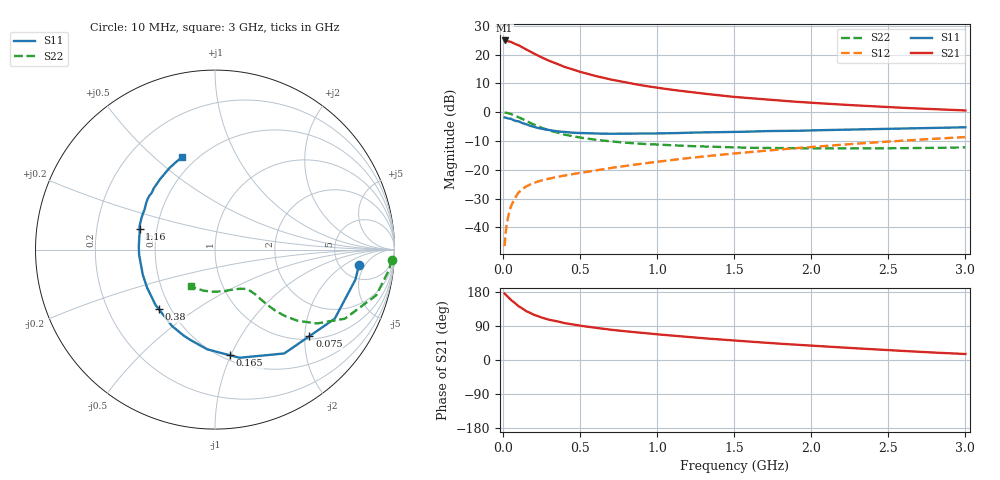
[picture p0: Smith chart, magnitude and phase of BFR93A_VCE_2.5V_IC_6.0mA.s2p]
! Infineon Technologies  Discrete & RF Semiconductors
! BFR93A
! VCE =  2.5 V,  IC =  6.0 mA
! Common Emitter S-Parameters:  Nov 2015
# GHz  S  MA  R  50
!  f  S11  S21  S12  S22
! GHz  MAG  ANG  MAG  ANG  MAG  ANG  MAG  ANG
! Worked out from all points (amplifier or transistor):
!   180 points, 10 MHz to 3 GHz, reference 50 ohm
!   highest |S21| = 24.9 dB at 10 MHz (marker M1)
!   |S21| within 3 dB of that: start of sweep to 146.2 MHz
!   unconditionally stable (mu >= 1): 685.4 MHz to 2.908 GHz
!   at 160 MHz: K = 0.38, MSG = 23.5 dB, |S12| = -25.5 dB
!   at 1.22 GHz: K = 1.12, MAG = 9.3 dB, |S12| = -15.9 dB
!   at 3 GHz: K = 0.99, MSG = 4.6 dB, |S12| = -8.7 dB
!   S11 on the Smith chart (normalised r, x): 10 MHz: 7.53, -3.71; 75 MHz: 1.07, -2.11; 165 MHz: 0.54, -0.99; 380 MHz: 0.43, -0.36; 1.16 GHz: 0.40, +0.12; 3 GHz: 0.42, +0.62
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0.01  0.8073 -6.1  17.58 175.5  0.0047 86.7  0.985 -3.3
0.02  0.7999 -12.1  17.44 171.1  0.0095 82.8  0.9769 -6.5
0.05  0.7703 -30.0  16.64 158.8  0.0226 75.0  0.9338 -15.8
0.075  0.7137 -42.5  15.44 151.0  0.0312 67.8  0.8719 -21.5
0.1  0.6955 -56.3  14.56 142.1  0.04 63.8  0.8198 -28.0
0.15  0.618 -77.2  12.3 128.9  0.0513 56.5  0.7019 -35.9
0.165  0.5944 -82.0  11.71 126.4  0.0536 55.2  0.6733 -37.2
0.2  0.5575 -94.4  10.44 119.4  0.0592 52.7  0.6082 -40.7
0.24  0.5216 -105.3  9.216 113.6  0.064 50.8  0.55 -43.0
0.26  0.5089 -110.3  8.692 110.9  0.0662 50.3  0.5247 -43.9
0.3  0.4887 -119.3  7.779 106.1  0.0702 49.8  0.4812 -45.3
0.38  0.4563 -133.3  6.418 99.3  0.0776 50.0  0.4214 -46.5
0.4  0.4528 -137.0  6.096 97.2  0.0794 50.0  0.4065 -46.9
0.52  0.4312 -152.4  4.856 89.4  0.0901 51.1  0.3551 -47.7
0.7  0.4212 -168.9  3.684 79.8  0.1073 53.2  0.3098 -49.0
0.88  0.4244 179.0  2.986 72.5  0.125 54.8  0.284 -51.2
1.02  0.4274 170.9  2.608 67.1  0.1395 55.5  0.2715 -53.5
1.16  0.4363 164.4  2.329 62.2  0.1547 55.7  0.261 -56.8
1.52  0.4528 149.9  1.821 50.7  0.1938 55.2  0.2437 -66.4
2.02  0.4836 134.5  1.445 37.3  0.2513 52.6  0.2346 -82.9
2.52  0.5139 121.3  1.218 25.7  0.3109 48.2  0.2361 -101.8
3  0.5458 109.6  1.07 15.8  0.3691 42.8  0.2453 -123.1
